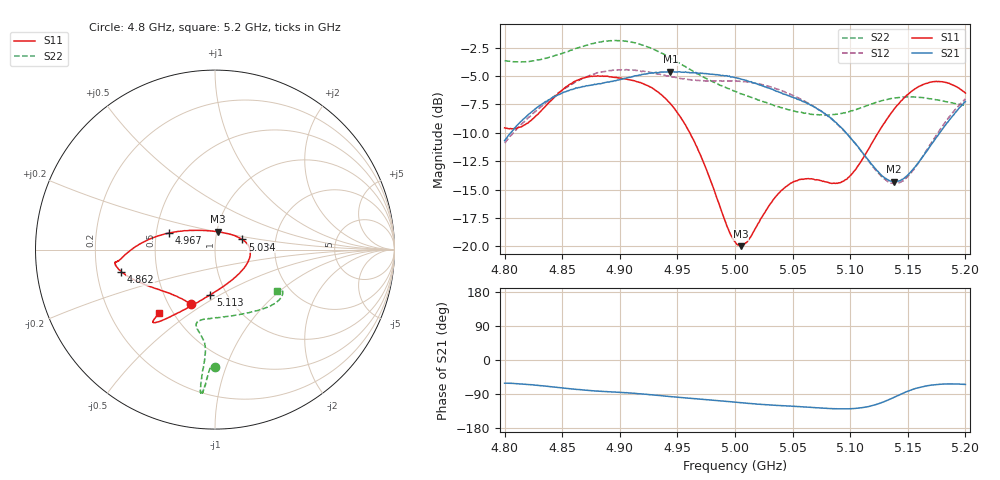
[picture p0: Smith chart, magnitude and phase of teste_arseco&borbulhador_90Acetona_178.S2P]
! Network Analyzer HP8722D
! Hewlett-Packard
! Data name: Linha & Wilkinson
! Saver's name: Rodrigo Anjos
! Comments: Teste da utilização de aquisição
! continua pelo VNA HP8722D
! Time and date: 17/4/2025 12:32
!  Frequency  S11  S21  S12  S22
# HZ  S  MA R 50
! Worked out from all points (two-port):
!   401 points, 4.8 GHz to 5.2 GHz, reference 50 ohm
!   highest |S21| = -4.62 dB at 4.944 GHz (marker M1); lowest = -14.3 dB at 5.138 GHz (marker M2)
!   |S21| within 3 dB of the highest: 4.83 GHz to 5.067 GHz (236.7 MHz wide, 4.78 % of centre); 5.196537 GHz to end of sweep
!   lowest |S11| = -20.0 dB at 5.005 GHz (marker M3), VSWR 1.22, Z = 50.4 + j10.1 ohm
!   |S11| at or under -10 dB: 4.961 GHz to 5.124 GHz (163.4 MHz wide, 3.24 % of centre)
!   |S22| runs from -8.5 to -1.9 dB; largest |S21 - S12| = 0.88
!   S11 on the Smith chart (normalised r, x): 4.8 GHz: 0.64, -0.44; 4.862 GHz: 0.31, -0.11; 4.967 GHz: 0.58, +0.12; 5.034 GHz: 1.35, +0.16; 5.113 GHz: 0.84, -0.45; 5.2 GHz: 0.42, -0.38
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4.8e9  0.3324 -114.1  0.2919 -61.1  0.2853 -175.3  0.6564 -90.0
4.819e9  0.347 -134.1  0.3734 -64.2  0.3615 -173.9  0.6521 -91.6
4.862e9  0.5356 -166.6  0.4986 -77.4  0.5309 -177.2  0.7443 -93.9
4.867e9  0.5482 -168.5  0.5039 -78.8  0.5458 -178.2  0.7568 -94.0
4.901e9  0.5501 -173.0  0.5432 -85.5  0.599 175.0  0.8038 -95.6
4.934e9  0.4746 -179.2  0.5829 -93.7  0.5734 171.6  0.7183 -95.9
4.944e9  0.4243 176.1  0.5875 -96.6  0.5592 171.8  0.6748 -95.7
4.967e9  0.2733 160.3  0.5794 -102.5  0.537 173.7  0.575 -95.4
5e9  0.1048 99.1  0.5531 -111.4  0.5346 176.0  0.4814 -99.5
5.005e9  0.1002 81.9  0.5449 -112.8  0.5317 176.0  0.4691 -100.7
5.012e9  0.1072 59.7  0.5318 -114.4  0.5288 175.8  0.4565 -102.1
5.034e9  0.1624 20.5  0.4863 -119.4  0.4982 174.7  0.4166 -104.0
5.05e9  0.1915 4.3  0.4535 -122.2  0.4621 173.9  0.3954 -99.9
5.067e9  0.1981 -13.9  0.4162 -125.1  0.4168 173.5  0.3811 -90.8
5.093e9  0.1928 -58.2  0.3302 -128.9  0.3293 173.9  0.3849 -70.8
5.113e9  0.2533 -95.9  0.2498 -124.5  0.2491 -179.9  0.4138 -55.1
5.134e9  0.3763 -117.2  0.1947 -104.1  0.1909 -157.2  0.4458 -43.1
5.138e9  0.4014 -119.5  0.1925 -98.6  0.1891 -150.7  0.4489 -41.4
5.151e9  0.4705 -125.2  0.2084 -81.3  0.2058 -130.8  0.4552 -36.5
5.17e9  0.5283 -129.6  0.2786 -66.4  0.2833 -112.5  0.4464 -32.2
5.184e9  0.5253 -130.9  0.3496 -63.2  0.3604 -107.5  0.4329 -31.3
5.2e9  0.4728 -131.3  0.4339 -64.5  0.4458 -106.7  0.4162 -33.6
